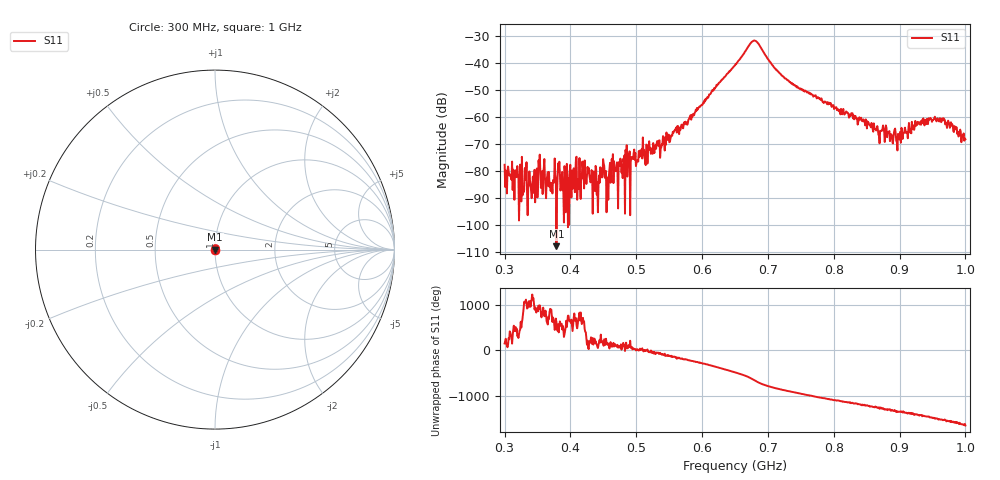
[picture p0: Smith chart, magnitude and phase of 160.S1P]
! C:\Users\rflab\Downloads\q2\160.S1P
! Touchstone 1.1 file saved by VNA.EXE V1.65 (www.ke5fx.com/gpib/readme.htm)
! 11/20/2024 11:11:52 AM
!  Source: HEWLETT PACKARD,8753D,0,6.14
!  Min freq: 3.000000E+008 Hz
!  Max freq: 1.000000E+009 Hz
!  Points: 801
!  Params: S21
# GHZ S MA R 50
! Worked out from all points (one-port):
!   801 points, 300 MHz to 1 GHz, reference 50 ohm
!   lowest |S11| = -108.0 dB at 378.8 MHz (marker M1), VSWR 1.00, Z = 50 - j0.000398 ohm
!   |S11| at or under -10 dB: start of sweep to end of sweep
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0.3  0.000129 151.9
0.37875  4e-06 -96.3
0.3875  9.5e-05 99.9
0.411125  5.5e-05 -144.3
0.45575  6.6e-05 132.4
0.46275  0.000165 82.2
0.468875  9.8e-05 101.8
0.475  0.000122 82.4
0.486375  7.8e-05 44.4
0.50125  0.000151 26.8
0.507375  0.000185 11.9
0.514375  0.000127 -14.7
0.531875  0.000355 -52.7
0.53975  0.000304 -82.5
0.5625  0.000675 -163.7
0.57475  0.000811 165.2
0.65  0.008996 -128.1
0.680625  0.0257 48.5
0.710375  0.007942 -113.3
0.7375  0.00398 158.0
0.825  0.001067 -69.5
0.866125  0.000674 175.5
0.876625  0.000528 129.6
0.8985  0.000439 79.8
0.9125  0.0004 40.6
0.932625  0.000713 7.8
0.965  0.000933 -94.8
1  0.000384 137.4
